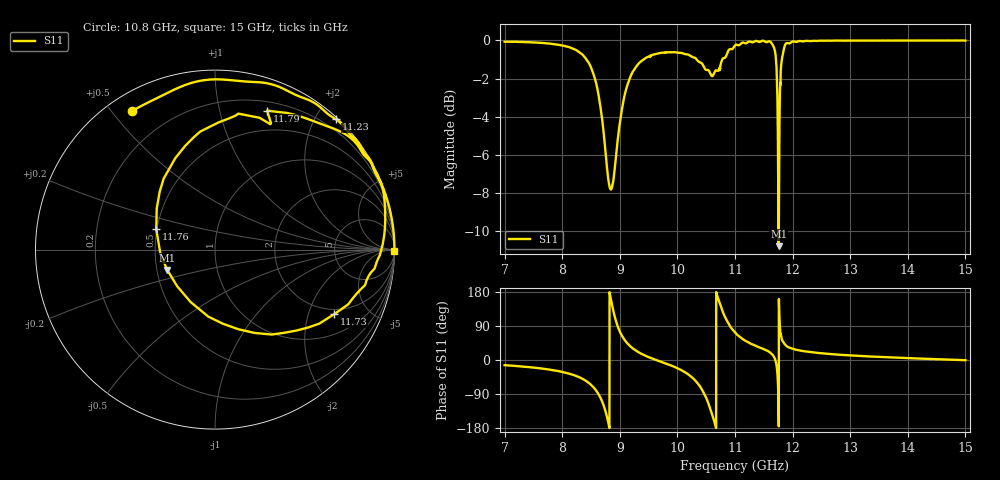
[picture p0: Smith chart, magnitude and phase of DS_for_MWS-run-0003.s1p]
! TOUCHSTONE file generated by CST DESIGN STUDIO
! Date and time: Mon Feb 10 16:55:48 2025
! Project name: C:\Work\MatlabApps\UnitCellType2OptimizationMatlab\CST\unitcell.cst
! Tree item: Tasks\Sweep1\SPara1\S-Parameters
! Header version: 2024
! Port assignment regex: !\s*Touchstone port\s*([0-9]+)\s*=\s*(CST MWS port|CST DES external port|CST DES block port)\s*(.+)\s* \(\"(.*)\"\)(\s*mode\s*([0-9]+))?.*
! Touchstone port assignment:
! Touchstone port 1 = CST DES external port 1 ("")
# GHz S MA R 50
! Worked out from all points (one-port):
!   4001 points, 7 GHz to 15 GHz, reference 50 ohm
!   lowest |S11| = -10.8 dB at 11.76 GHz (marker M1), VSWR 1.81, Z = 28.4 - j7.05 ohm
!   |S11| at or under -10 dB: 11.7544 GHz to 11.76058 GHz (6.174 MHz wide, 0.0525 % of centre)
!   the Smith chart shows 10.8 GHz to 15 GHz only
!   S11 on the Smith chart (normalised r, x): 10.8 GHz: 0.07, +0.56; 11.23 GHz: 0.03, +2.29; 11.73 GHz: 1.78, -2.97; 11.76 GHz: 0.50, +0.13; 11.79 GHz: 0.29, +1.40; 15 GHz: open
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7  0.9926 -13.7
8  0.9709 -31.4
8.364  0.9142 -50.8
8.612  0.7455 -85.8
8.81  0.4229 -172.0
8.908  0.455 117.0
9  0.6073 75.0
9.152  0.78 40.6
9.342  0.8746 19.0
10  0.9292 -21.7
10.294  0.9024 -51.6
10.504  0.8369 -101.3
10.662  0.8339 -174.1
10.804  0.8992 121.0
11  0.9705 72.9
11.226  0.9907 47.1
11.666  0.9661 10.9
11.702  0.9228 -0.9
11.732  0.7552 -28.4
11.758  0.2891 -156.8
11.762  0.3465 160.8
11.792  0.8272 69.5
11.812  0.8888 55.5
11.858  0.9621 42.9
12  0.994 29.6
13  0.9988 12.1
14  0.9998 5.0
15  0.9992 -0.5
